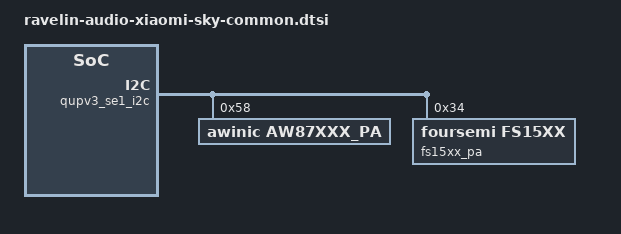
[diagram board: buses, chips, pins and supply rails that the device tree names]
// SPDX-License-Identifier: BSD-3-Clause
/*
 * Xiaomi Sky audio, based on ravelin-audio-qrd.dtsi.
 */

#include "ravelin-audio-qrd.dtsi"

&lpass_cdc {
	qcom,num-macros = <3>;
};

&wsa_macro {
	status = "disabled";
};

&wsa2_macro {
	status = "disabled";
};

&waipio_snd {
	qcom,wsa-max-devs = <0>;
	qcom,audio-routing =
		"AMIC1", "Analog Mic1",
		"AMIC1", "MIC BIAS1",
		"AMIC2", "Analog Mic2",
		"AMIC2", "MIC BIAS2",
		"AMIC3", "Analog Mic3",
		"AMIC3", "MIC BIAS3",
		"TX DMIC0", "Digital Mic0",
		"TX DMIC0", "MIC BIAS3",
		"TX DMIC1", "Digital Mic1",
		"TX DMIC1", "MIC BIAS3",
		"TX DMIC2", "Digital Mic2",
		"TX DMIC2", "MIC BIAS1",
		"TX DMIC3", "Digital Mic3",
		"TX DMIC3", "MIC BIAS1",
		"IN1_HPHL", "HPHL_OUT",
		"IN2_HPHR", "HPHR_OUT",
		"IN3_AUX", "AUX_OUT",
		"RX_TX DEC0_INP", "TX DEC0 MUX",
		"RX_TX DEC1_INP", "TX DEC1 MUX",
		"RX_TX DEC2_INP", "TX DEC2 MUX",
		"RX_TX DEC3_INP", "TX DEC3 MUX",
		"TX SWR_INPUT", "WCD_TX_OUTPUT",
		"VA SWR_INPUT", "VA_SWR_CLK",
		"VA SWR_INPUT", "WCD_TX_OUTPUT",
		"VA_AIF1 CAP", "VA_SWR_CLK",
		"VA_AIF2 CAP", "VA_SWR_CLK",
		"VA_AIF3 CAP", "VA_SWR_CLK";
};

&qupv3_se1_i2c {
	status = "okay";
	#address-cells = <1>;
	#size-cells = <0>;

	aw87xxx_pa@58 {
		compatible = "awinic,aw87xxx_pa";
		reg = <0x58>;
		dev_index = <0>;
		aw-rx-port-id = <0x4000>;
		aw-rx-topo-id = <0x1000ff01>;
		status = "okay";
	};

	fs15xx_pa@34 {
		compatible = "foursemi,fs15xx";
		reg = <0x34>;
		status = "okay";
	};
};
